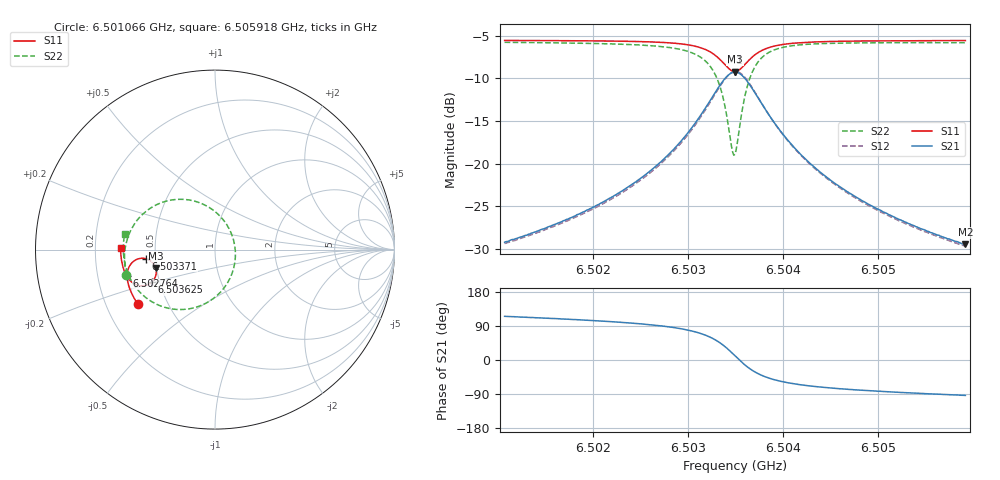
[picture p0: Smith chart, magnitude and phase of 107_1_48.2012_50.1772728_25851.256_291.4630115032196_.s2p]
#  HZ  S  RI  R  50.00
! Rohde & Schwarz Vector Network Analyzer
! Rohde-Schwarz,ZNB20-2Port,1311601062101988,3.16
! Created: UTC 3/20/2024, 11:40:50 AM
! freq[Hz]  re:S11  im:S11  re:S21  im:S21  re:S12  im:S12  re:S22  im:S22
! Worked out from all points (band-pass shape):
!   401 points, 6.501066 GHz to 6.505918 GHz, reference 50 ohm
!   highest |S21| = -9.27 dB at 6.503492 GHz (marker M1); lowest = -29.4 dB at 6.505918 GHz (marker M2)
!   |S21| within 3 dB of the highest: 6.503249 GHz to 6.503734 GHz (484.9 kHz wide, 0.00746 % of centre)
!   lowest |S11| = -9.2 dB at 6.503492 GHz (marker M3), VSWR 2.06, Z = 24.7 - j5.78 ohm
!   |S11| at or under -10 dB: nowhere
!   |S22| runs from -19.0 to -5.8 dB; largest |S21 - S12| = 0.012
!   S11 on the Smith chart (normalised r, x): 6.501066 GHz: 0.34, -0.28; 6.502764 GHz: 0.33, -0.13; 6.503371 GHz: 0.44, -0.05; 6.503625 GHz: 0.45, -0.19; 6.505918 GHz: 0.31, +0.01
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6.5010656e9  -0.4314 -0.3017  -0.0148 0.0314  -0.0131 0.0315  -0.4933 -0.1427
6.5018785e9  -0.4657 -0.2405  -0.014 0.0499  -0.0116 0.0493  -0.5042 -0.0541
6.5023152e9  -0.4806 -0.2011  -0.011 0.0692  -0.00784 0.068  -0.5 0.01
6.5026913e9  -0.4891 -0.1585  -0.00126 0.1005  0.00246 0.0979  -0.4782 0.088
6.5027641e9  -0.4895 -0.1485  0.00286 0.1095  0.00666 0.1066  -0.4694 0.1076
6.5029703e9  -0.4857 -0.1151  0.0245 0.1436  0.0284 0.1392  -0.4239 0.1756
6.503128e9  -0.4706 -0.0829  0.0648 0.18  0.0675 0.174  -0.3458 0.2394
6.5032736e9  -0.4321 -0.0531  0.148 0.209  0.1485 0.2026  -0.194 0.2803
6.5033221e9  -0.4105 -0.0483  0.1912 0.2073  0.1912 0.2016  -0.1181 0.2711
6.5033707e9  -0.3848 -0.0506  0.2408 0.1916  0.2409 0.1869  -0.0332 0.2355
6.5034556e9  -0.3416 -0.0804  0.3199 0.1154  0.3224 0.111  0.0931 0.0848
6.503492e9  -0.3306 -0.103  0.3375 0.0658  0.3412 0.0602  0.1134 -0.00836
6.5035163e9  -0.3276 -0.1194  0.3407 0.0307  0.3447 0.0237  0.1103 -0.0729
6.5035527e9  -0.3298 -0.1439  0.333 -0.0202  0.3365 -0.0294  0.0819 -0.163
6.5036254e9  -0.3526 -0.1815  0.2853 -0.0974  0.285 -0.109  -0.0311 -0.2873
6.5037346e9  -0.3988 -0.2017  0.1969 -0.1428  0.1913 -0.1527  -0.2099 -0.3336
6.5038923e9  -0.4464 -0.1922  0.1118 -0.1386  0.1046 -0.1437  -0.3627 -0.2837
6.5040622e9  -0.4746 -0.1708  0.0659 -0.117  0.0594 -0.1195  -0.4371 -0.216
6.5043048e9  -0.4956 -0.141  0.0349 -0.0916  0.03 -0.0921  -0.4816 -0.1418
6.5046688e9  -0.5113 -0.1023  0.0154 -0.0672  0.012 -0.0669  -0.5044 -0.0658
6.5051176e9  -0.5208 -0.06  0.00527 -0.0499  0.00292 -0.0493  -0.5107 0.000121
6.5059183e9  -0.5261 0.0084  -0.00202 -0.0337  -0.00334 -0.0328  -0.5034 0.087
